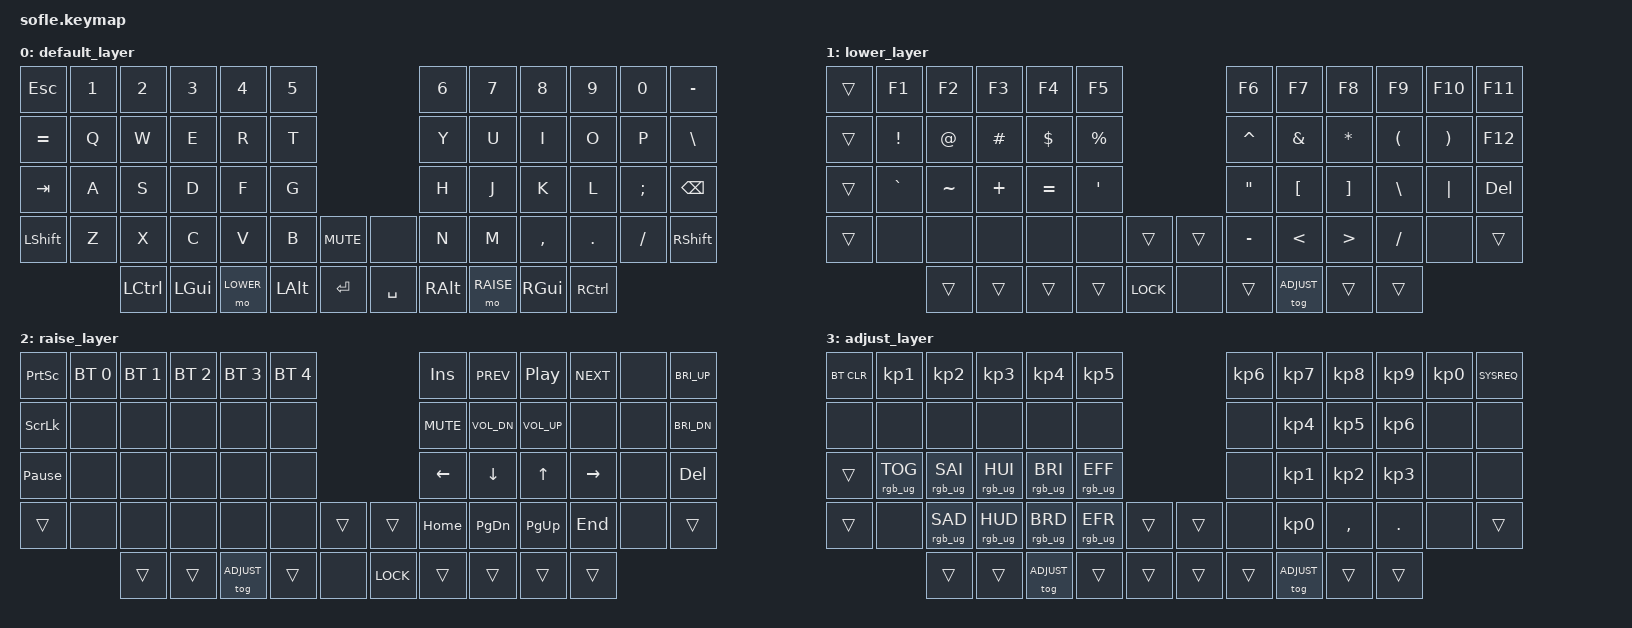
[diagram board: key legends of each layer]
/*
 * Copyright (c) 2020 The ZMK Contributors
 *
 * SPDX-License-Identifier: MIT
 */

#include <behaviors.dtsi>
#include <dt-bindings/zmk/keys.h>
#include <dt-bindings/zmk/bt.h>
#include <dt-bindings/zmk/rgb.h>

#define BASE 0
#define LOWER 1
#define RAISE 2
#define ADJUST 3

/ {

    keymap {
        compatible = "zmk,keymap";

        default_layer {
            bindings = <
&kp ESC    &kp N1  &kp N2     &kp N3    &kp N4     &kp N5                          &kp N6    &kp N7     &kp N8     &kp N9      &kp N0    &kp MINUS
&kp EQUAL  &kp Q   &kp W      &kp E     &kp R      &kp T                           &kp Y     &kp U      &kp I      &kp O       &kp P     &kp BSLH
&kp TAB    &kp A   &kp S      &kp D     &kp F      &kp G                           &kp H     &kp J      &kp K      &kp L       &kp SEMI  &kp BSPC
&kp LSHFT  &kp Z   &kp X      &kp C     &kp V      &kp B     &kp C_MUTE  &none     &kp N     &kp M      &kp COMMA  &kp PERIOD  &kp FSLH  &kp RSHFT
                   &kp LCTRL  &kp LGUI  &mo LOWER  &kp LALT  &kp ENTER   &kp SPACE &kp RALT  &mo RAISE  &kp RGUI   &kp RCTRL
            >;
        };

        lower_layer {
            bindings = <
&trans  &kp F1     &kp F2     &kp F3    &kp F4      &kp F5                           &kp F6     &kp F7       &kp F8     &kp F9    &kp F10   &kp F11
&trans  &kp EXCL   &kp AT     &kp HASH  &kp DOLLAR  &kp PERCENT                      &kp CARET  &kp AMPS     &kp ASTRK  &kp LPAR  &kp RPAR  &kp F12
&trans  &kp GRAVE  &kp TILDE  &kp PLUS  &kp EQUAL   &kp SQT                          &kp DQT    &kp LBKT     &kp RBKT   &kp BSLH  &kp PIPE  &kp DEL
&trans  &none      &none      &none     &none       &none        &trans      &trans  &kp MINUS  &kp LT       &kp GT     &kp FSLH  &none     &trans
                   &trans     &trans    &trans      &trans       &kp K_LOCK  &none   &trans     &tog ADJUST  &trans     &trans
            >;
        };

        raise_layer {
            bindings = <
&kp PRINTSCREEN  &bt BT_SEL 0  &bt BT_SEL 1  &bt BT_SEL 2  &bt BT_SEL 3  &bt BT_SEL 4                      &kp INS     &kp C_PREV    &kp C_PP      &kp C_NEXT  &none  &kp C_BRI_UP
&kp SCROLLLOCK   &none         &none         &none         &none         &none                             &kp C_MUTE  &kp C_VOL_DN  &kp C_VOL_UP  &none       &none  &kp C_BRI_DN
&kp PAUSE_BREAK  &none         &none         &none         &none         &none                             &kp LEFT    &kp DOWN      &kp UP        &kp RIGHT   &none  &kp DEL
&trans           &none         &none         &none         &none         &none         &trans  &trans      &kp HOME    &kp PG_DN     &kp PG_UP     &kp END     &none  &trans
                               &trans        &trans        &tog ADJUST   &trans        &none   &kp K_LOCK  &trans      &trans        &trans        &trans
            >;
        };

        adjust_layer {
            bindings = <
&bt BT_CLR  &kp KP_N1        &kp KP_N2        &kp KP_N3        &kp KP_N4        &kp KP_N5                        &kp KP_N6  &kp KP_N7    &kp KP_N8  &kp KP_N9   &kp KP_N0  &kp SYSREQ
&none       &none            &none            &none            &none            &none                            &none      &kp KP_N4    &kp KP_N5  &kp KP_N6   &none      &none
&trans      &rgb_ug RGB_TOG  &rgb_ug RGB_SAI  &rgb_ug RGB_HUI  &rgb_ug RGB_BRI  &rgb_ug RGB_EFF                  &none      &kp KP_N1    &kp KP_N2  &kp KP_N3   &none      &none
&trans      &none            &rgb_ug RGB_SAD  &rgb_ug RGB_HUD  &rgb_ug RGB_BRD  &rgb_ug RGB_EFR  &trans  &trans  &none      &kp KP_N0    &kp COMMA  &kp PERIOD  &none      &trans
                             &trans           &trans           &tog ADJUST      &trans           &trans  &trans  &trans     &tog ADJUST  &trans     &trans
            >;
        };

    };
};
